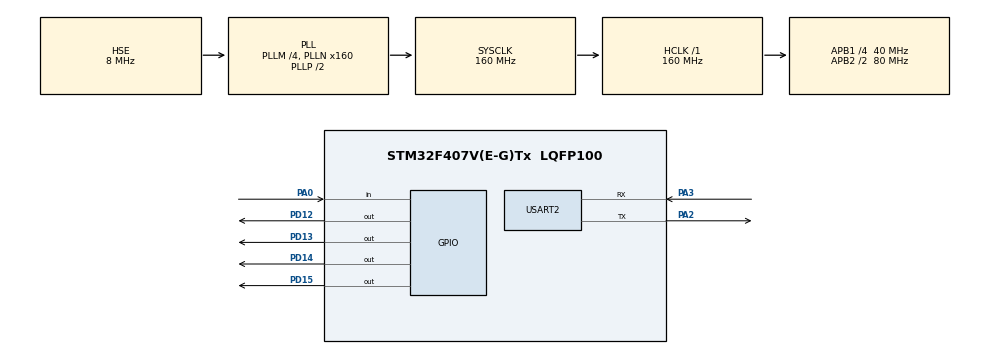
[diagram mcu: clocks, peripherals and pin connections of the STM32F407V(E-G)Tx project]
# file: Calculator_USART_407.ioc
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Dma.Request0=USART2_RX
Dma.USART2_RX.0.Direction=DMA_PERIPH_TO_MEMORY
Dma.USART2_RX.0.FIFOMode=DMA_FIFOMODE_DISABLE
Dma.USART2_RX.0.Instance=DMA1_Stream5
Dma.USART2_RX.0.MemDataAlignment=DMA_MDATAALIGN_BYTE
Dma.USART2_RX.0.MemInc=DMA_MINC_ENABLE
Dma.USART2_RX.0.Mode=DMA_NORMAL
Dma.USART2_RX.0.PeriphDataAlignment=DMA_PDATAALIGN_BYTE
Dma.USART2_RX.0.PeriphInc=DMA_PINC_DISABLE
Dma.USART2_RX.0.Priority=DMA_PRIORITY_LOW
Mcu.Family=STM32F4
Mcu.Name=STM32F407V(E-G)Tx
Mcu.Package=LQFP100
NVIC.DMA1_Stream5_IRQn=true\:0\:0\:false\:false\:true\:false\:true
NVIC.PriorityGroup=NVIC_PRIORITYGROUP_0
NVIC.TIM1_UP_TIM10_IRQn=true\:0\:0\:false\:false\:true\:false\:true
NVIC.TIM6_DAC_IRQn=true\:0\:0\:false\:false\:true\:true\:true
NVIC.TimeBase=TIM1_UP_TIM10_IRQn
NVIC.TimeBaseIP=TIM1
NVIC.USART2_IRQn=true\:0\:0\:false\:false\:true\:true\:true
PA0-WKUP.Signal=GPIO_Input
PA2.Mode=Asynchronous
PA2.Signal=USART2_TX
PA3.Mode=Asynchronous
PA3.Signal=USART2_RX
PD12.Signal=GPIO_Output
PD13.Signal=GPIO_Output
PD14.Signal=GPIO_Output
PD15.Signal=GPIO_Output
PH0-OSC_IN.Mode=HSE-External-Clock-Source
PH0-OSC_IN.Signal=RCC_OSC_IN
PH1-OSC_OUT.Mode=HSE-External-Clock-Source
PH1-OSC_OUT.Signal=RCC_OSC_OUT
ProjectManager.HeapSize=0x200
ProjectManager.StackSize=0x400
ProjectManager.TargetToolchain=STM32CubeIDE
RCC.48MHZClocksFreq_Value=45714285.71428572
RCC.AHBFreq_Value=160000000
RCC.APB1CLKDivider=RCC_HCLK_DIV4
RCC.APB1Freq_Value=40000000
RCC.APB1TimFreq_Value=80000000
RCC.APB2CLKDivider=RCC_HCLK_DIV2
RCC.APB2Freq_Value=80000000
RCC.APB2TimFreq_Value=160000000
RCC.CortexFreq_Value=160000000
RCC.HCLKFreq_Value=160000000
RCC.HSE_VALUE=8000000
RCC.HSI_VALUE=16000000
RCC.LSE_VALUE=32768
RCC.PLLM=4
RCC.PLLN=160
RCC.PLLQ=7
RCC.PLLSourceVirtual=RCC_PLLSOURCE_HSE
RCC.SYSCLKFreq_VALUE=160000000
RCC.SYSCLKSource=RCC_SYSCLKSOURCE_PLLCLK
RCC.VCOOutputFreq_Value=320000000
TIM6.Prescaler=20000
USART2.VirtualMode=VM_ASYNC
VP_SYS_VS_tim1.Mode=TIM1
VP_TIM6_VS_ClockSourceINT.Mode=Enable_Timer
board=STM32F407G-DISC1

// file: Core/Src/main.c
/* USER CODE BEGIN Header */
/**
  ******************************************************************************
  * @file           : main.c
  * @brief          : Main program body
  ******************************************************************************
  * @attention
  *
  * <h2><center>&copy; Copyright (c) 2022 STMicroelectronics.
  * All rights reserved.</center></h2>
  *
  * This software component is licensed by ST under Ultimate Liberty license
  * SLA0044, the "License"; You may not use this file except in compliance with
  * the License. You may obtain a copy of the License at:
  *                             www.st.com/SLA0044
  *
  ******************************************************************************
  */
/* USER CODE END Header */
#include "main.h"
#include <stdlib.h>
#include <string.h>
#include<stdio.h>
#include "stm32f4xx_hal_uart.h"
#include "calculator.h"

/* USER CODE BEGIN PTD */
#ifdef __GNUC__

 #define PUTCHAR_PROTOTYPE int __io_putchar(int ch)
 #define GETCHAR_PROTOTYPE int __io_getchar(void)
#else
  #define PUTCHAR_PROTOTYPE int fputc(int ch, FILE *f)
  #define GETCHAR_PROTOTYPE int fgetc(FILE *f)
#endif /* __GNUC__ */

/* USER CODE END PTD */

TIM_HandleTypeDef htim6;

UART_HandleTypeDef huart2;
DMA_HandleTypeDef hdma_usart2_rx;

void SystemClock_Config(void);
static void MX_GPIO_Init(void);
static void MX_DMA_Init(void);
static void MX_USART2_UART_Init(void);
static void MX_TIM6_Init(void);

/* USER CODE BEGIN 0 */
//uint8_t Tx1_Data[18]= "\n\rEnter two No.\r\n";
//uint8_t Rx_Data;
//
//uint8_t invalid[25]= "Input Incorrect!!\n\r";
//uint8_t div_zero[30]= "Exception: divide by 0\n\r";
//
//uint8_t buffer[4]={0},i=0;
//
//
//uint16_t result=0,x,y,choice=0;
//uint8_t *Tx_Data[6]={"1. Addition\n\r","2. Subtraction\n\r","3. Multiplication\n\r","4. Division\n\r"};
//uint8_t err_msg[50]={0};

/* USER CODE END 0 */

int main(void)
{
  /* USER CODE BEGIN 1 */
	setvbuf(stdin, NULL, _IONBF, 0);

  /* USER CODE END 1 */

  /* MCU Configuration--------------------------------------------------------*/

  /* Reset of all peripherals, Initializes the Flash interface and the Systick. */
  HAL_Init();

  /* Configure the system clock */
  SystemClock_Config();

  /* Initialize all configured peripherals */
  MX_GPIO_Init();
  MX_DMA_Init();
  MX_USART2_UART_Init();
  MX_TIM6_Init();

  /* Infinite loop */
  /* USER CODE BEGIN WHILE */
  while (1)
  {
	  calculator();
//	  HAL_GPIO_TogglePin(GPIOD, GPIO_PIN_12);
//	  HAL_Delay(500);
//	  printf("Enter your choice:\r\n");
//
//	  for(uint8_t i=0;i<4;i++)
//	  	{
//	  	  	  printf("%s",Tx_Data[i]);
//	  		 // HAL_GPIO_TogglePin(GPIOD, GPIO_PIN_12);
//		}
//
//		scanf("%u",&choice);
//		printf("\r\n enter two no. \r\n");
//		scanf("%d",&x);
//		scanf("%d",&y);
//		result=calculator(choice,x,y);
//			//result=1000;
//	  	printf("result is:\n\r");
//
//	  			 // HAL_Delay(500);
//	  	printf("\n\r %d\r\n",result);

    /* USER CODE END WHILE */

  }
}

void SystemClock_Config(void)
{
  RCC_OscInitTypeDef RCC_OscInitStruct = {0};
  RCC_ClkInitTypeDef RCC_ClkInitStruct = {0};

  /** Configure the main internal regulator output voltage
  */
  __HAL_RCC_PWR_CLK_ENABLE();
  __HAL_PWR_VOLTAGESCALING_CONFIG(PWR_REGULATOR_VOLTAGE_SCALE1);
  /** Initializes the RCC Oscillators according to the specified parameters
  * in the RCC_OscInitTypeDef structure.
  */
  RCC_OscInitStruct.OscillatorType = RCC_OSCILLATORTYPE_HSE;
  RCC_OscInitStruct.HSEState = RCC_HSE_BYPASS;
  RCC_OscInitStruct.PLL.PLLState = RCC_PLL_ON;
  RCC_OscInitStruct.PLL.PLLSource = RCC_PLLSOURCE_HSE;
  RCC_OscInitStruct.PLL.PLLM = 4;
  RCC_OscInitStruct.PLL.PLLN = 160;
  RCC_OscInitStruct.PLL.PLLP = RCC_PLLP_DIV2;
  RCC_OscInitStruct.PLL.PLLQ = 7;
  if (HAL_RCC_OscConfig(&RCC_OscInitStruct) != HAL_OK)
  {
    Error_Handler();
  }
  /** Initializes the CPU, AHB and APB buses clocks
  */
  RCC_ClkInitStruct.ClockType = RCC_CLOCKTYPE_HCLK|RCC_CLOCKTYPE_SYSCLK
                              |RCC_CLOCKTYPE_PCLK1|RCC_CLOCKTYPE_PCLK2;
  RCC_ClkInitStruct.SYSCLKSource = RCC_SYSCLKSOURCE_PLLCLK;
  RCC_ClkInitStruct.AHBCLKDivider = RCC_SYSCLK_DIV1;
  RCC_ClkInitStruct.APB1CLKDivider = RCC_HCLK_DIV4;
  RCC_ClkInitStruct.APB2CLKDivider = RCC_HCLK_DIV2;

  if (HAL_RCC_ClockConfig(&RCC_ClkInitStruct, FLASH_LATENCY_5) != HAL_OK)
  {
    Error_Handler();
  }
}

static void MX_TIM6_Init(void)
{

  TIM_MasterConfigTypeDef sMasterConfig = {0};

  htim6.Instance = TIM6;
  htim6.Init.Prescaler = 20000;
  htim6.Init.CounterMode = TIM_COUNTERMODE_UP;
  htim6.Init.Period = 65535;
  htim6.Init.AutoReloadPreload = TIM_AUTORELOAD_PRELOAD_DISABLE;
  if (HAL_TIM_Base_Init(&htim6) != HAL_OK)
  {
    Error_Handler();
  }
  sMasterConfig.MasterOutputTrigger = TIM_TRGO_RESET;
  sMasterConfig.MasterSlaveMode = TIM_MASTERSLAVEMODE_DISABLE;
  if (HAL_TIMEx_MasterConfigSynchronization(&htim6, &sMasterConfig) != HAL_OK)
  {
    Error_Handler();
  }

}

static void MX_USART2_UART_Init(void)
{

  huart2.Instance = USART2;
  huart2.Init.BaudRate = 115200;
  huart2.Init.WordLength = UART_WORDLENGTH_8B;
  huart2.Init.StopBits = UART_STOPBITS_1;
  huart2.Init.Parity = UART_PARITY_NONE;
  huart2.Init.Mode = UART_MODE_TX_RX;
  huart2.Init.HwFlowCtl = UART_HWCONTROL_NONE;
  huart2.Init.OverSampling = UART_OVERSAMPLING_16;
  if (HAL_UART_Init(&huart2) != HAL_OK)
  {
    Error_Handler();
  }

}

static void MX_DMA_Init(void)
{

  /* DMA controller clock enable */
  __HAL_RCC_DMA1_CLK_ENABLE();

  /* DMA interrupt init */
  /* DMA1_Stream5_IRQn interrupt configuration */
  HAL_NVIC_SetPriority(DMA1_Stream5_IRQn, 0, 0);
  HAL_NVIC_EnableIRQ(DMA1_Stream5_IRQn);

}

static void MX_GPIO_Init(void)
{
  GPIO_InitTypeDef GPIO_InitStruct = {0};

  /* GPIO Ports Clock Enable */
  __HAL_RCC_GPIOH_CLK_ENABLE();
  __HAL_RCC_GPIOA_CLK_ENABLE();
  __HAL_RCC_GPIOD_CLK_ENABLE();

  /*Configure GPIO pin Output Level */
  HAL_GPIO_WritePin(GPIOD, GPIO_PIN_12|GPIO_PIN_13|GPIO_PIN_14|GPIO_PIN_15, GPIO_PIN_RESET);

  /*Configure GPIO pin : PA0 */
  GPIO_InitStruct.Pin = GPIO_PIN_0;
  GPIO_InitStruct.Mode = GPIO_MODE_INPUT;
  GPIO_InitStruct.Pull = GPIO_NOPULL;
  HAL_GPIO_Init(GPIOA, &GPIO_InitStruct);

  /*Configure GPIO pins : PD12 PD13 PD14 PD15 */
  GPIO_InitStruct.Pin = GPIO_PIN_12|GPIO_PIN_13|GPIO_PIN_14|GPIO_PIN_15;
  GPIO_InitStruct.Mode = GPIO_MODE_OUTPUT_PP;
  GPIO_InitStruct.Pull = GPIO_NOPULL;
  GPIO_InitStruct.Speed = GPIO_SPEED_FREQ_LOW;
  HAL_GPIO_Init(GPIOD, &GPIO_InitStruct);

}

/* USER CODE BEGIN 4 */

PUTCHAR_PROTOTYPE
{

  HAL_UART_Transmit(&huart2, (uint8_t *)&ch, 1, HAL_MAX_DELAY);

  return ch;
}

GETCHAR_PROTOTYPE
{
	uint8_t ch = 0;

	  /* Clear the Overrun flag just before receiving the first character */
	__HAL_UART_CLEAR_OREFLAG(&huart2);

  HAL_UART_Receive(&huart2, (uint8_t *)&ch, 1, HAL_MAX_DELAY);

  return ch;
}

//HAL_UART_RxCpltCallback(UART_HandleTypeDef *huart)
//{
//	if (Rx_Data != ' ' && Rx_Data !='\r')
//	{
//		buffer[i]= Rx_Data - '0';
//		HAL_UART_Receive_IT(&huart2, &Rx_Data, 1);
//		i++;
//	}
//	HAL_GPIO_TogglePin(GPIOD, GPIO_PIN_13);
//
//}
//
//HAL_UART_TxCpltCallback(UART_HandleTypeDef *huart)
//{
//	 HAL_GPIO_TogglePin(GPIOD, GPIO_PIN_15);
//}
/* USER CODE END 4 */

void HAL_TIM_PeriodElapsedCallback(TIM_HandleTypeDef *htim)
{
  if (htim->Instance == TIM1) {
    HAL_IncTick();
  }
}

void Error_Handler(void)
{
  __disable_irq();
  while (1)
  {
  }
}

/************************ (C) COPYRIGHT STMicroelectronics *****END OF FILE****/
